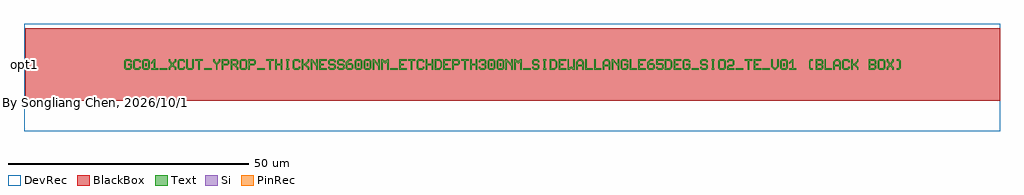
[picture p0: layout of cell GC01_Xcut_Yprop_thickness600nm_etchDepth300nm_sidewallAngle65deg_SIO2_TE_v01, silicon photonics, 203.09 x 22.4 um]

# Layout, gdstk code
import gdstk
lib = gdstk.Library(unit=1e-6, precision=1e-10)
def R(c, l, rs):  # rectangles x0, y0, x1, y1
    for r in rs: c.add(gdstk.rectangle(r[:2], r[2:], *l))
def A(c, l, x, y, w, h, nx, ny, dx, dy):  # array of equal rectangles
    R(c, l, [(x+i*dx, y+j*dy, x+i*dx+w, y+j*dy+h) for i in range(nx) for j in range(ny)])
def P(c, l, *ps):  # polygons
    for p in ps: c.add(gdstk.Polygon(p, *l))
Si = (1, 0)
PinRec = (1, 10)
Text = (10, 0)
DevRec = (68, 0)
BlackBox = (998, 0)

text = lib.new_cell('TEXT')
A(text, Text, 27.66, 0, 1.537, 0.307, 3, 1, 27.66, 0)
R(text, Text, [(7.376,0,8.913,0.307), (16.596,0,18.133,0.307), (118.016,0,119.553,0.307), (127.236,0,128.773,0.307), (132.768,0,134.305,0.307), (4.303,0.768,4.61,1.383), (48.559,0.768,48.866,1.383), (50.403,0.768,50.71,1.383), (76.219,0.768,76.526,1.383), (78.063,0.768,78.37,1.383), (137.071,0.768,137.378,1.383)])
P(text, Text, [(0.307,0),(0,0.307),(0,1.844),(0.307,2.152),(1.23,2.152),(1.537,1.844),(1.537,1.537),(1.23,1.537),(1.23,1.691),(1.076,1.844),(0.461,1.844),(0.307,1.691),(0.307,0.461),(0.461,0.307),(1.076,0.307),(1.23,0.461),(1.23,0.922),(0.768,0.922),(0.768,1.23),(1.537,1.23),(1.537,0.307),(1.23,0)],
  [(2.151,0),(1.844,0.307),(1.844,1.844),(2.151,2.152),(3.074,2.152),(3.381,1.844),(3.381,1.537),(3.074,1.537),(3.074,1.691),(2.92,1.844),(2.305,1.844),(2.151,1.691),(2.151,0.461),(2.305,0.307),(2.92,0.307),(3.074,0.461),(3.074,0.615),(3.381,0.615),(3.381,0.307),(3.074,0)],
  [(3.995,0),(3.688,0.307),(3.688,1.844),(3.995,2.152),(4.918,2.152),(5.225,1.844),(4.149,1.844),(3.995,1.691),(3.995,0.461),(4.149,0.307),(4.764,0.307),(4.918,0.461),(4.918,1.691),(4.764,1.844),(5.225,1.844),(5.225,0.307),(4.918,0)],
  [(5.532,0),(5.532,0.307),(6.147,0.307),(6.147,1.537),(5.993,1.537),(5.686,1.23),(5.532,1.23),(5.532,1.537),(6.147,2.152),(6.454,2.152),(6.454,0.307),(7.069,0.307),(7.069,0)],
  [(9.22,0),(9.22,0.461),(9.681,0.922),(9.681,1.23),(9.22,1.691),(9.22,2.152),(9.527,2.152),(9.527,1.844),(9.988,1.383),(10.45,1.844),(10.45,2.152),(10.757,2.152),(10.757,1.691),(10.296,1.23),(10.296,0.922),(10.757,0.461),(10.757,0),(10.45,0),(10.45,0.307),(9.988,0.768),(9.527,0.307),(9.527,0)],
  [(11.371,0),(11.064,0.307),(11.064,1.844),(11.371,2.152),(12.294,2.152),(12.601,1.844),(12.601,1.537),(12.294,1.537),(12.294,1.691),(12.14,1.844),(11.525,1.844),(11.371,1.691),(11.371,0.461),(11.525,0.307),(12.14,0.307),(12.294,0.461),(12.294,0.615),(12.601,0.615),(12.601,0.307),(12.294,0)],
  [(13.215,0),(12.908,0.307),(12.908,2.152),(13.215,2.152),(13.215,0.461),(13.369,0.307),(13.984,0.307),(14.138,0.461),(14.138,2.152),(14.445,2.152),(14.445,0.307),(14.138,0)],
  [(15.367,0),(15.367,1.844),(14.752,1.844),(14.752,2.152),(16.289,2.152),(16.289,1.844),(15.674,1.844),(15.674,0)],
  [(19.055,0),(19.055,1.076),(18.44,1.691),(18.44,2.152),(18.747,2.152),(18.747,1.844),(19.208,1.383),(19.67,1.844),(19.67,2.152),(19.977,2.152),(19.977,1.691),(19.362,1.076),(19.362,0)],
  [(20.284,0),(20.284,2.152),(21.514,2.152),(21.821,1.844),(21.821,1.23),(21.514,0.922),(20.591,0.922),(20.591,1.23),(21.36,1.23),(21.514,1.383),(21.514,1.691),(21.36,1.844),(20.591,1.844),(20.591,0)],
  [(22.128,0),(22.128,2.152),(23.358,2.152),(23.665,1.844),(22.435,1.844),(22.435,1.23),(23.204,1.23),(23.358,1.383),(23.358,1.691),(23.204,1.844),(23.665,1.844),(23.665,1.23),(23.358,0.922),(23.358,0.768),(23.665,0.461),(23.665,0),(23.358,0),(23.358,0.307),(22.743,0.922),(22.435,0.922),(22.435,0)],
  [(24.279,0),(23.972,0.307),(23.972,1.844),(24.279,2.152),(25.202,2.152),(25.509,1.844),(25.509,1.076),(25.202,1.076),(25.202,1.691),(25.048,1.844),(24.433,1.844),(24.279,1.691),(24.279,0.461),(24.433,0.307),(25.048,0.307),(25.202,0.461),(25.202,1.076),(25.509,1.076),(25.509,0.307),(25.202,0)],
  [(25.816,0),(25.816,2.152),(27.046,2.152),(27.353,1.844),(27.353,1.23),(27.046,0.922),(26.123,0.922),(26.123,1.23),(26.892,1.23),(27.046,1.383),(27.046,1.691),(26.892,1.844),(26.123,1.844),(26.123,0)],
  [(30.119,0),(30.119,1.844),(29.504,1.844),(29.504,2.152),(31.041,2.152),(31.041,1.844),(30.426,1.844),(30.426,0)],
  [(31.348,0),(31.348,2.152),(31.655,2.152),(31.655,1.23),(32.578,1.23),(32.578,2.152),(32.885,2.152),(32.885,0),(32.578,0),(32.578,0.922),(31.655,0.922),(31.655,0)],
  [(33.653,0),(33.653,0.307),(33.807,0.307),(33.807,1.844),(33.653,1.844),(33.653,2.152),(34.268,2.152),(34.268,1.844),(34.114,1.844),(34.114,0.307),(34.268,0.307),(34.268,0)],
  [(35.343,0),(35.036,0.307),(35.036,1.844),(35.343,2.152),(36.266,2.152),(36.573,1.844),(36.573,1.537),(36.266,1.537),(36.266,1.691),(36.112,1.844),(35.497,1.844),(35.343,1.691),(35.343,0.461),(35.497,0.307),(36.112,0.307),(36.266,0.461),(36.266,0.615),(36.573,0.615),(36.573,0.307),(36.266,0)],
  [(36.88,0),(36.88,2.152),(37.187,2.152),(37.187,1.23),(37.495,1.23),(38.11,1.844),(38.11,2.152),(38.417,2.152),(38.417,1.691),(37.802,1.076),(38.417,0.461),(38.417,0),(38.11,0),(38.11,0.307),(37.495,0.922),(37.187,0.922),(37.187,0)],
  [(38.724,0),(38.724,2.152),(39.031,2.152),(39.8,1.383),(39.954,1.383),(39.954,2.152),(40.261,2.152),(40.261,0),(39.954,0),(39.954,0.768),(39.185,1.537),(39.031,1.537),(39.031,0)],
  [(40.568,0),(40.568,2.152),(42.105,2.152),(42.105,1.844),(40.875,1.844),(40.875,1.23),(41.49,1.23),(41.49,0.922),(40.875,0.922),(40.875,0.307),(42.105,0.307),(42.105,0)],
  [(42.719,0),(42.412,0.307),(42.412,0.615),(42.719,0.615),(42.719,0.461),(42.873,0.307),(43.488,0.307),(43.642,0.461),(43.642,0.768),(43.488,0.922),(42.719,0.922),(42.412,1.23),(42.412,1.844),(42.719,2.152),(43.642,2.152),(43.949,1.844),(43.949,1.537),(43.642,1.537),(43.642,1.691),(43.488,1.844),(42.873,1.844),(42.719,1.691),(42.719,1.383),(42.873,1.23),(43.642,1.23),(43.949,0.922),(43.949,0.307),(43.642,0)],
  [(44.563,0),(44.256,0.307),(44.256,0.615),(44.563,0.615),(44.563,0.461),(44.717,0.307),(45.332,0.307),(45.486,0.461),(45.486,0.768),(45.332,0.922),(44.563,0.922),(44.256,1.23),(44.256,1.844),(44.563,2.152),(45.486,2.152),(45.793,1.844),(45.793,1.537),(45.486,1.537),(45.486,1.691),(45.332,1.844),(44.717,1.844),(44.563,1.691),(44.563,1.383),(44.717,1.23),(45.486,1.23),(45.793,0.922),(45.793,0.307),(45.486,0)],
  [(46.407,0),(46.1,0.307),(46.1,1.537),(46.715,2.152),(47.33,2.152),(47.33,1.844),(46.868,1.844),(46.561,1.537),(46.561,1.383),(47.33,1.383),(47.637,1.076),(46.561,1.076),(46.407,0.922),(46.407,0.461),(46.561,0.307),(47.176,0.307),(47.33,0.461),(47.33,0.922),(47.176,1.076),(47.637,1.076),(47.637,0.307),(47.33,0)],
  [(48.251,0),(47.944,0.307),(47.944,1.844),(48.251,2.152),(49.174,2.152),(49.481,1.844),(48.405,1.844),(48.251,1.691),(48.251,0.461),(48.405,0.307),(49.02,0.307),(49.174,0.461),(49.174,1.691),(49.02,1.844),(49.481,1.844),(49.481,0.307),(49.174,0)],
  [(50.095,0),(49.788,0.307),(49.788,1.844),(50.095,2.152),(51.018,2.152),(51.325,1.844),(50.249,1.844),(50.095,1.691),(50.095,0.461),(50.249,0.307),(50.864,0.307),(51.018,0.461),(51.018,1.691),(50.864,1.844),(51.325,1.844),(51.325,0.307),(51.018,0)],
  [(51.632,0),(51.632,2.152),(51.939,2.152),(52.708,1.383),(52.862,1.383),(52.862,2.152),(53.169,2.152),(53.169,0),(52.862,0),(52.862,0.768),(52.093,1.537),(51.939,1.537),(51.939,0)],
  [(53.476,0),(53.476,2.152),(53.783,2.152),(54.091,1.844),(54.398,1.844),(54.706,2.152),(55.013,2.152),(55.013,0),(54.706,0),(54.706,1.537),(54.552,1.537),(54.244,1.23),(53.937,1.537),(53.783,1.537),(53.783,0)],
  [(57.164,0),(57.164,2.152),(58.701,2.152),(58.701,1.844),(57.471,1.844),(57.471,1.23),(58.086,1.23),(58.086,0.922),(57.471,0.922),(57.471,0.307),(58.701,0.307),(58.701,0)],
  [(59.623,0),(59.623,1.844),(59.008,1.844),(59.008,2.152),(60.545,2.152),(60.545,1.844),(59.93,1.844),(59.93,0)],
  [(61.159,0),(60.852,0.307),(60.852,1.844),(61.159,2.152),(62.082,2.152),(62.389,1.844),(62.389,1.537),(62.082,1.537),(62.082,1.691),(61.928,1.844),(61.313,1.844),(61.159,1.691),(61.159,0.461),(61.313,0.307),(61.928,0.307),(62.082,0.461),(62.082,0.615),(62.389,0.615),(62.389,0.307),(62.082,0)],
  [(62.696,0),(62.696,2.152),(63.003,2.152),(63.003,1.23),(63.926,1.23),(63.926,2.152),(64.233,2.152),(64.233,0),(63.926,0),(63.926,0.922),(63.003,0.922),(63.003,0)],
  [(64.54,0),(64.54,2.152),(65.616,2.152),(65.923,1.844),(64.847,1.844),(64.847,0.307),(65.462,0.307),(65.77,0.615),(65.77,1.537),(65.462,1.844),(65.923,1.844),(66.077,1.691),(66.077,0.461),(65.616,0)],
  [(66.384,0),(66.384,2.152),(67.921,2.152),(67.921,1.844),(66.691,1.844),(66.691,1.23),(67.306,1.23),(67.306,0.922),(66.691,0.922),(66.691,0.307),(67.921,0.307),(67.921,0)],
  [(68.228,0),(68.228,2.152),(69.458,2.152),(69.765,1.844),(69.765,1.23),(69.458,0.922),(68.535,0.922),(68.535,1.23),(69.304,1.23),(69.458,1.383),(69.458,1.691),(69.304,1.844),(68.535,1.844),(68.535,0)],
  [(70.687,0),(70.687,1.844),(70.072,1.844),(70.072,2.152),(71.609,2.152),(71.609,1.844),(70.994,1.844),(70.994,0)],
  [(71.916,0),(71.916,2.152),(72.223,2.152),(72.223,1.23),(73.146,1.23),(73.146,2.152),(73.453,2.152),(73.453,0),(73.146,0),(73.146,0.922),(72.223,0.922),(72.223,0)],
  [(74.067,0),(73.76,0.307),(73.76,0.615),(74.067,0.615),(74.067,0.461),(74.221,0.307),(74.836,0.307),(74.99,0.461),(74.99,0.768),(74.836,0.922),(74.375,0.922),(74.375,1.23),(74.836,1.23),(74.99,1.383),(74.99,1.691),(74.836,1.844),(74.221,1.844),(74.067,1.691),(74.067,1.537),(73.76,1.537),(73.76,1.844),(74.067,2.152),(74.99,2.152),(75.297,1.844),(75.297,1.23),(75.143,1.076),(75.297,0.922),(75.297,0.307),(74.99,0)],
  [(75.911,0),(75.604,0.307),(75.604,1.844),(75.911,2.152),(76.834,2.152),(77.141,1.844),(76.065,1.844),(75.911,1.691),(75.911,0.461),(76.065,0.307),(76.68,0.307),(76.834,0.461),(76.834,1.691),(76.68,1.844),(77.141,1.844),(77.141,0.307),(76.834,0)],
  [(77.755,0),(77.448,0.307),(77.448,1.844),(77.755,2.152),(78.678,2.152),(78.985,1.844),(77.909,1.844),(77.755,1.691),(77.755,0.461),(77.909,0.307),(78.524,0.307),(78.678,0.461),(78.678,1.691),(78.524,1.844),(78.985,1.844),(78.985,0.307),(78.678,0)],
  [(79.292,0),(79.292,2.152),(79.599,2.152),(80.368,1.383),(80.522,1.383),(80.522,2.152),(80.829,2.152),(80.829,0),(80.522,0),(80.522,0.768),(79.753,1.537),(79.599,1.537),(79.599,0)],
  [(81.136,0),(81.136,2.152),(81.443,2.152),(81.751,1.844),(82.058,1.844),(82.366,2.152),(82.673,2.152),(82.673,0),(82.366,0),(82.366,1.537),(82.212,1.537),(81.904,1.23),(81.597,1.537),(81.443,1.537),(81.443,0)],
  [(85.131,0),(84.824,0.307),(84.824,0.615),(85.131,0.615),(85.131,0.461),(85.285,0.307),(85.9,0.307),(86.054,0.461),(86.054,0.768),(85.9,0.922),(85.131,0.922),(84.824,1.23),(84.824,1.844),(85.131,2.152),(86.054,2.152),(86.361,1.844),(86.361,1.537),(86.054,1.537),(86.054,1.691),(85.9,1.844),(85.285,1.844),(85.131,1.691),(85.131,1.383),(85.285,1.23),(86.054,1.23),(86.361,0.922),(86.361,0.307),(86.054,0)],
  [(87.129,0),(87.129,0.307),(87.283,0.307),(87.283,1.844),(87.129,1.844),(87.129,2.152),(87.744,2.152),(87.744,1.844),(87.59,1.844),(87.59,0.307),(87.744,0.307),(87.744,0)],
  [(88.512,0),(88.512,2.152),(89.588,2.152),(89.895,1.844),(88.819,1.844),(88.819,0.307),(89.434,0.307),(89.742,0.615),(89.742,1.537),(89.434,1.844),(89.895,1.844),(90.049,1.691),(90.049,0.461),(89.588,0)],
  [(90.356,0),(90.356,2.152),(91.893,2.152),(91.893,1.844),(90.663,1.844),(90.663,1.23),(91.278,1.23),(91.278,0.922),(90.663,0.922),(90.663,0.307),(91.893,0.307),(91.893,0)],
  [(92.2,0),(92.2,2.152),(92.507,2.152),(92.507,0.461),(92.661,0.461),(92.968,0.768),(93.276,0.461),(93.43,0.461),(93.43,2.152),(93.737,2.152),(93.737,0),(93.276,0),(92.968,0.307),(92.661,0)],
  [(94.044,0),(94.044,1.691),(94.505,2.152),(95.12,2.152),(95.427,1.844),(94.659,1.844),(94.351,1.537),(94.351,1.076),(95.274,1.076),(95.274,1.537),(94.966,1.844),(95.427,1.844),(95.581,1.691),(95.581,0),(95.274,0),(95.274,0.768),(94.351,0.768),(94.351,0)],
  [(95.888,0),(95.888,2.152),(96.195,2.152),(96.195,0.307),(97.425,0.307),(97.425,0)],
  [(97.732,0),(97.732,2.152),(98.039,2.152),(98.039,0.307),(99.269,0.307),(99.269,0)],
  [(99.576,0),(99.576,1.691),(100.037,2.152),(100.652,2.152),(100.959,1.844),(100.191,1.844),(99.883,1.537),(99.883,1.076),(100.806,1.076),(100.806,1.537),(100.498,1.844),(100.959,1.844),(101.113,1.691),(101.113,0),(100.806,0),(100.806,0.768),(99.883,0.768),(99.883,0)],
  [(101.42,0),(101.42,2.152),(101.727,2.152),(102.496,1.383),(102.65,1.383),(102.65,2.152),(102.957,2.152),(102.957,0),(102.65,0),(102.65,0.768),(101.881,1.537),(101.727,1.537),(101.727,0)],
  [(103.571,0),(103.264,0.307),(103.264,1.844),(103.571,2.152),(104.494,2.152),(104.801,1.844),(104.801,1.537),(104.494,1.537),(104.494,1.691),(104.34,1.844),(103.725,1.844),(103.571,1.691),(103.571,0.461),(103.725,0.307),(104.34,0.307),(104.494,0.461),(104.494,0.922),(104.032,0.922),(104.032,1.23),(104.801,1.23),(104.801,0.307),(104.494,0)],
  [(105.108,0),(105.108,2.152),(105.415,2.152),(105.415,0.307),(106.645,0.307),(106.645,0)],
  [(106.952,0),(106.952,2.152),(108.489,2.152),(108.489,1.844),(107.259,1.844),(107.259,1.23),(107.874,1.23),(107.874,0.922),(107.259,0.922),(107.259,0.307),(108.489,0.307),(108.489,0)],
  [(109.103,0),(108.796,0.307),(108.796,1.537),(109.411,2.152),(110.026,2.152),(110.026,1.844),(109.564,1.844),(109.257,1.537),(109.257,1.383),(110.026,1.383),(110.333,1.076),(109.257,1.076),(109.103,0.922),(109.103,0.461),(109.257,0.307),(109.872,0.307),(110.026,0.461),(110.026,0.922),(109.872,1.076),(110.333,1.076),(110.333,0.307),(110.026,0)],
  [(110.947,0),(110.64,0.307),(110.64,0.615),(110.947,0.615),(110.947,0.461),(111.101,0.307),(111.716,0.307),(111.87,0.461),(111.87,0.922),(111.716,1.076),(110.64,1.076),(110.64,2.152),(112.177,2.152),(112.177,1.844),(110.947,1.844),(110.947,1.383),(111.87,1.383),(112.177,1.076),(112.177,0.307),(111.87,0)],
  [(112.484,0),(112.484,2.152),(113.56,2.152),(113.867,1.844),(112.791,1.844),(112.791,0.307),(113.406,0.307),(113.714,0.615),(113.714,1.537),(113.406,1.844),(113.867,1.844),(114.021,1.691),(114.021,0.461),(113.56,0)],
  [(114.328,0),(114.328,2.152),(115.865,2.152),(115.865,1.844),(114.635,1.844),(114.635,1.23),(115.25,1.23),(115.25,0.922),(114.635,0.922),(114.635,0.307),(115.865,0.307),(115.865,0)],
  [(116.479,0),(116.172,0.307),(116.172,1.844),(116.479,2.152),(117.402,2.152),(117.709,1.844),(117.709,1.537),(117.402,1.537),(117.402,1.691),(117.248,1.844),(116.633,1.844),(116.479,1.691),(116.479,0.461),(116.633,0.307),(117.248,0.307),(117.402,0.461),(117.402,0.922),(116.94,0.922),(116.94,1.23),(117.709,1.23),(117.709,0.307),(117.402,0)],
  [(120.167,0),(119.86,0.307),(119.86,0.615),(120.167,0.615),(120.167,0.461),(120.321,0.307),(120.936,0.307),(121.09,0.461),(121.09,0.768),(120.936,0.922),(120.167,0.922),(119.86,1.23),(119.86,1.844),(120.167,2.152),(121.09,2.152),(121.397,1.844),(121.397,1.537),(121.09,1.537),(121.09,1.691),(120.936,1.844),(120.321,1.844),(120.167,1.691),(120.167,1.383),(120.321,1.23),(121.09,1.23),(121.397,0.922),(121.397,0.307),(121.09,0)],
  [(122.165,0),(122.165,0.307),(122.319,0.307),(122.319,1.844),(122.165,1.844),(122.165,2.152),(122.78,2.152),(122.78,1.844),(122.626,1.844),(122.626,0.307),(122.78,0.307),(122.78,0)],
  [(123.855,0),(123.548,0.307),(123.548,1.844),(123.855,2.152),(124.778,2.152),(125.085,1.844),(125.085,1.076),(124.778,1.076),(124.778,1.691),(124.624,1.844),(124.009,1.844),(123.855,1.691),(123.855,0.461),(124.009,0.307),(124.624,0.307),(124.778,0.461),(124.778,1.076),(125.085,1.076),(125.085,0.307),(124.778,0)],
  [(125.392,0),(125.392,0.768),(125.699,1.076),(126.468,1.076),(126.622,1.23),(126.622,1.691),(126.468,1.844),(125.853,1.844),(125.699,1.691),(125.699,1.537),(125.392,1.537),(125.392,1.844),(125.699,2.152),(126.622,2.152),(126.929,1.844),(126.929,1.076),(126.622,0.768),(125.853,0.768),(125.699,0.615),(125.699,0.307),(126.929,0.307),(126.929,0)],
  [(129.695,0),(129.695,1.844),(129.08,1.844),(129.08,2.152),(130.617,2.152),(130.617,1.844),(130.002,1.844),(130.002,0)],
  [(130.924,0),(130.924,2.152),(132.461,2.152),(132.461,1.844),(131.231,1.844),(131.231,1.23),(131.846,1.23),(131.846,0.922),(131.231,0.922),(131.231,0.307),(132.461,0.307),(132.461,0)],
  [(135.227,0),(134.612,0.615),(134.612,2.152),(134.919,2.152),(134.919,0.768),(135.38,0.307),(135.842,0.768),(135.842,2.152),(136.149,2.152),(136.149,0.615),(135.534,0)],
  [(136.763,0),(136.456,0.307),(136.456,1.844),(136.763,2.152),(137.686,2.152),(137.993,1.844),(136.917,1.844),(136.763,1.691),(136.763,0.461),(136.917,0.307),(137.532,0.307),(137.686,0.461),(137.686,1.691),(137.532,1.844),(137.993,1.844),(137.993,0.307),(137.686,0)],
  [(138.3,0),(138.3,0.307),(138.915,0.307),(138.915,1.537),(138.761,1.537),(138.454,1.23),(138.3,1.23),(138.3,1.537),(138.915,2.152),(139.222,2.152),(139.222,0.307),(139.837,0.307),(139.837,0)],
  [(142.756,0),(142.449,0.307),(142.449,1.844),(142.756,2.152),(143.218,2.152),(143.218,1.844),(142.91,1.844),(142.756,1.691),(142.756,0.461),(142.91,0.307),(143.218,0.307),(143.218,0)],
  [(143.832,0),(143.832,2.152),(145.062,2.152),(145.369,1.844),(144.139,1.844),(144.139,1.23),(144.908,1.23),(145.062,1.383),(145.062,1.691),(144.908,1.844),(145.369,1.844),(145.369,1.23),(145.215,1.076),(145.369,0.922),(144.139,0.922),(144.139,0.307),(144.908,0.307),(145.062,0.461),(145.062,0.768),(144.908,0.922),(145.369,0.922),(145.369,0.307),(145.062,0)],
  [(145.676,0),(145.676,2.152),(145.983,2.152),(145.983,0.307),(147.213,0.307),(147.213,0)],
  [(147.52,0),(147.52,1.691),(147.981,2.152),(148.596,2.152),(148.903,1.844),(148.135,1.844),(147.827,1.537),(147.827,1.076),(148.75,1.076),(148.75,1.537),(148.442,1.844),(148.903,1.844),(149.057,1.691),(149.057,0),(148.75,0),(148.75,0.768),(147.827,0.768),(147.827,0)],
  [(149.671,0),(149.364,0.307),(149.364,1.844),(149.671,2.152),(150.594,2.152),(150.901,1.844),(150.901,1.537),(150.594,1.537),(150.594,1.691),(150.44,1.844),(149.825,1.844),(149.671,1.691),(149.671,0.461),(149.825,0.307),(150.44,0.307),(150.594,0.461),(150.594,0.615),(150.901,0.615),(150.901,0.307),(150.594,0)],
  [(151.208,0),(151.208,2.152),(151.515,2.152),(151.515,1.23),(151.823,1.23),(152.438,1.844),(152.438,2.152),(152.745,2.152),(152.745,1.691),(152.13,1.076),(152.745,0.461),(152.745,0),(152.438,0),(152.438,0.307),(151.823,0.922),(151.515,0.922),(151.515,0)],
  [(154.896,0),(154.896,2.152),(156.126,2.152),(156.433,1.844),(155.203,1.844),(155.203,1.23),(155.972,1.23),(156.126,1.383),(156.126,1.691),(155.972,1.844),(156.433,1.844),(156.433,1.23),(156.279,1.076),(156.433,0.922),(155.203,0.922),(155.203,0.307),(155.972,0.307),(156.126,0.461),(156.126,0.768),(155.972,0.922),(156.433,0.922),(156.433,0.307),(156.126,0)],
  [(157.047,0),(156.74,0.307),(156.74,1.844),(157.047,2.152),(157.97,2.152),(158.277,1.844),(158.277,1.076),(157.97,1.076),(157.97,1.691),(157.816,1.844),(157.201,1.844),(157.047,1.691),(157.047,0.461),(157.201,0.307),(157.816,0.307),(157.97,0.461),(157.97,1.076),(158.277,1.076),(158.277,0.307),(157.97,0)],
  [(158.584,0),(158.584,0.461),(159.045,0.922),(159.045,1.23),(158.584,1.691),(158.584,2.152),(158.891,2.152),(158.891,1.844),(159.352,1.383),(159.814,1.844),(159.814,2.152),(160.121,2.152),(160.121,1.691),(159.66,1.23),(159.66,0.922),(160.121,0.461),(160.121,0),(159.814,0),(159.814,0.307),(159.352,0.768),(158.891,0.307),(158.891,0)],
  [(160.735,0),(160.735,0.307),(161.043,0.307),(161.196,0.461),(161.196,1.691),(161.043,1.844),(160.735,1.844),(160.735,2.152),(161.196,2.152),(161.504,1.844),(161.504,0.307),(161.196,0)])

gc01_xcut_yprop_thicknes = lib.new_cell('GC01_Xcut_Yprop_thickness600nm_etchDepth300nm_sidewallAngle65deg_SIO2_TE_v01')
R(gc01_xcut_yprop_thicknes, Si, [(-101.5408,-0.7,-101.3408,0.7)])
R(gc01_xcut_yprop_thicknes, DevRec, [(-101.5408,-13.9,101.5407,8.5)])
R(gc01_xcut_yprop_thicknes, BlackBox, [(-101.3408,-7.5,101.5407,7.5)])
gc01_xcut_yprop_thicknes.add(gdstk.FlexPath([(-101.5308,0),(-101.5508,0)], 1.4, ends="flush", simple_path=True, layer=1, datatype=10))  # PinRec
gc01_xcut_yprop_thicknes.add(gdstk.Reference(text, (-80.6521,-1.076)))
gc01_xcut_yprop_thicknes.add(gdstk.Label('opt1', (-101.5408,0), layer=1, texttype=10))
gc01_xcut_yprop_thicknes.add(gdstk.Label('By Songliang Chen, 2026/10/13', (-101.0408,-8), layer=10, texttype=0))

lib.write_gds('GC01_Xcut_Yprop_thickness600nm_etchDepth300nm_sidewallAngle65deg_SIO2_TE_v01.gds')
